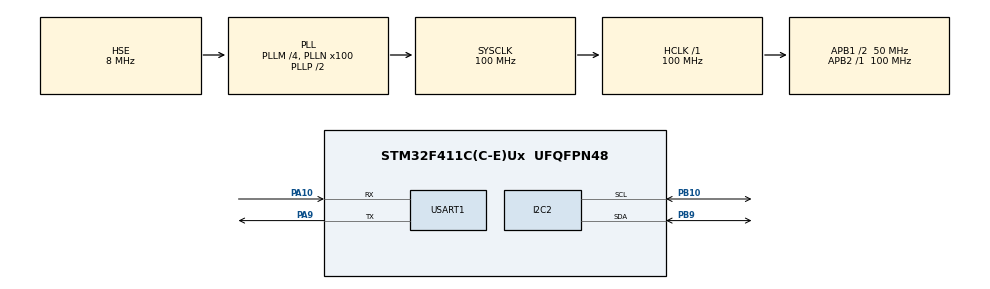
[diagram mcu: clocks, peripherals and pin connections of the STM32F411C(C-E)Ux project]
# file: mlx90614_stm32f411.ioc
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Dma.Request0=USART1_TX
Dma.USART1_TX.0.Direction=DMA_MEMORY_TO_PERIPH
Dma.USART1_TX.0.FIFOMode=DMA_FIFOMODE_DISABLE
Dma.USART1_TX.0.Instance=DMA2_Stream7
Dma.USART1_TX.0.MemDataAlignment=DMA_MDATAALIGN_BYTE
Dma.USART1_TX.0.MemInc=DMA_MINC_ENABLE
Dma.USART1_TX.0.Mode=DMA_NORMAL
Dma.USART1_TX.0.PeriphDataAlignment=DMA_PDATAALIGN_BYTE
Dma.USART1_TX.0.PeriphInc=DMA_PINC_DISABLE
Dma.USART1_TX.0.Priority=DMA_PRIORITY_HIGH
Mcu.Family=STM32F4
Mcu.Name=STM32F411C(C-E)Ux
Mcu.Package=UFQFPN48
NVIC.DMA2_Stream7_IRQn=true\:0\:0\:false\:false\:true\:false\:true\:true
NVIC.PriorityGroup=NVIC_PRIORITYGROUP_4
NVIC.USART1_IRQn=true\:0\:0\:false\:false\:true\:true\:true\:true
PA10.Mode=Asynchronous
PA10.Signal=USART1_RX
PA13.Mode=Serial_Wire
PA13.Signal=SYS_JTMS-SWDIO
PA14.Mode=Serial_Wire
PA14.Signal=SYS_JTCK-SWCLK
PA9.Mode=Asynchronous
PA9.Signal=USART1_TX
PB10.Mode=I2C
PB10.Signal=I2C2_SCL
PB9.Mode=I2C
PB9.Signal=I2C2_SDA
PH0\ -\ OSC_IN.Mode=HSE-External-Oscillator
PH0\ -\ OSC_IN.Signal=RCC_OSC_IN
PH1\ -\ OSC_OUT.Mode=HSE-External-Oscillator
PH1\ -\ OSC_OUT.Signal=RCC_OSC_OUT
ProjectManager.HeapSize=0x200
ProjectManager.StackSize=0x400
ProjectManager.TargetToolchain=STM32CubeIDE
RCC.48MHZClocksFreq_Value=50000000
RCC.AHBFreq_Value=100000000
RCC.APB1CLKDivider=RCC_HCLK_DIV2
RCC.APB1Freq_Value=50000000
RCC.APB1TimFreq_Value=100000000
RCC.APB2Freq_Value=100000000
RCC.APB2TimFreq_Value=100000000
RCC.CortexFreq_Value=100000000
RCC.HCLKFreq_Value=100000000
RCC.HSE_VALUE=8000000
RCC.HSI_VALUE=16000000
RCC.LSE_VALUE=32768
RCC.PLLM=4
RCC.PLLN=100
RCC.PLLSourceVirtual=RCC_PLLSOURCE_HSE
RCC.SYSCLKFreq_VALUE=100000000
RCC.SYSCLKSource=RCC_SYSCLKSOURCE_PLLCLK
RCC.VCOOutputFreq_Value=200000000
TIM10.Prescaler=9999
USART1.VirtualMode=VM_ASYNC
VP_TIM10_VS_ClockSourceINT.Mode=Enable_Timer
board=custom

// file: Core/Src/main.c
/* USER CODE BEGIN Header */
/**
  ******************************************************************************
  * @file           : main.c
  * @brief          : Main program body
  ******************************************************************************
  * @attention
  *
  * Copyright (c) 2024 STMicroelectronics.
  * All rights reserved.
  *
  * This software is licensed under terms that can be found in the LICENSE file
  * in the root directory of this software component.
  * If no LICENSE file comes with this software, it is provided AS-IS.
  *
  ******************************************************************************
  */
/* USER CODE END Header */
#include "main.h"
#include "dma.h"
#include "i2c.h"
#include "tim.h"
#include "usart.h"
#include "gpio.h"

/* USER CODE BEGIN Includes */
#include "stdbool.h"
#include "stdio.h"
#include "MLX90614.h"
#include "V8.h"
#include "math.h"
/* USER CODE END Includes */

/* USER CODE BEGIN PV */
uint8_t Receive_Flag = 0;	// 接收信息判断
volatile bool Flag = false;    //启动标记
float Tr = 0;
float x =0;
/* USER CODE END PV */

void SystemClock_Config(void);

/* USER CODE BEGIN 0 */
/**
****************************************************************************************
* @Funticon name: 秒级记时器
* @param {uint16_t} 记时数
* @return {*}
****************************************************************************************
*/
static void delay_s(uint16_t ns)
{
		__HAL_TIM_SetCounter(&htim10, 0);//htim10

		__HAL_TIM_ENABLE(&htim10);

		while(__HAL_TIM_GetCounter(&htim10) < (10000 * ns));//计数频率10KHz，10 000次即为1s
		/* Disable the Peripheral */
		__HAL_TIM_DISABLE(&htim10);
}
/* USER CODE END 0 */

int main(void)
{

  /* MCU Configuration--------------------------------------------------------*/

  /* Reset of all peripherals, Initializes the Flash interface and the Systick. */
  HAL_Init();

  /* Configure the system clock */
  SystemClock_Config();

  /* Initialize all configured peripherals */
  MX_GPIO_Init();
  MX_DMA_Init();
  MX_USART1_UART_Init();
  MX_I2C2_Init();
  MX_TIM10_Init();
  /* USER CODE BEGIN 2 */
	HAL_Delay(1000);	// 系统空转 2 秒，等待外围电路上电完成
	HAL_Delay(1000);

	printf("start init\r\n");

	HAL_UART_Receive_IT(&huart1, &Receive_Flag, 1);	// 启动接收中断
	MLX90614_Init(&hi2c2);

	printf("Initialization complete \r\n");

  /* USER CODE END 2 */

  /* Infinite loop */
  while (1)
  {

    /* USER CODE BEGIN 3 */
	if (true == Flag){
		Tr = 0.01*Mlx90614_measure_temperature(); // Tr皮肤绝对辐射温度
//		Tr = round(Tr * 100) * 0.01; // 四舍五入保留两位小数
//		x = 0.01*Tr;
		Sent_data_v8(Tr);
//		HAL_Delay(10);
	}
	else {
		;
	  }
  }
  /* USER CODE END 3 */
}

void SystemClock_Config(void)
{
  RCC_OscInitTypeDef RCC_OscInitStruct = {0};
  RCC_ClkInitTypeDef RCC_ClkInitStruct = {0};

  /** Configure the main internal regulator output voltage
  */
  __HAL_RCC_PWR_CLK_ENABLE();
  __HAL_PWR_VOLTAGESCALING_CONFIG(PWR_REGULATOR_VOLTAGE_SCALE1);

  /** Initializes the RCC Oscillators according to the specified parameters
  * in the RCC_OscInitTypeDef structure.
  */
  RCC_OscInitStruct.OscillatorType = RCC_OSCILLATORTYPE_HSE;
  RCC_OscInitStruct.HSEState = RCC_HSE_ON;
  RCC_OscInitStruct.PLL.PLLState = RCC_PLL_ON;
  RCC_OscInitStruct.PLL.PLLSource = RCC_PLLSOURCE_HSE;
  RCC_OscInitStruct.PLL.PLLM = 4;
  RCC_OscInitStruct.PLL.PLLN = 100;
  RCC_OscInitStruct.PLL.PLLP = RCC_PLLP_DIV2;
  RCC_OscInitStruct.PLL.PLLQ = 4;
  if (HAL_RCC_OscConfig(&RCC_OscInitStruct) != HAL_OK)
  {
    Error_Handler();
  }

  /** Initializes the CPU, AHB and APB buses clocks
  */
  RCC_ClkInitStruct.ClockType = RCC_CLOCKTYPE_HCLK|RCC_CLOCKTYPE_SYSCLK
                              |RCC_CLOCKTYPE_PCLK1|RCC_CLOCKTYPE_PCLK2;
  RCC_ClkInitStruct.SYSCLKSource = RCC_SYSCLKSOURCE_PLLCLK;
  RCC_ClkInitStruct.AHBCLKDivider = RCC_SYSCLK_DIV1;
  RCC_ClkInitStruct.APB1CLKDivider = RCC_HCLK_DIV2;
  RCC_ClkInitStruct.APB2CLKDivider = RCC_HCLK_DIV1;

  if (HAL_RCC_ClockConfig(&RCC_ClkInitStruct, FLASH_LATENCY_3) != HAL_OK)
  {
    Error_Handler();
  }
}

/* USER CODE BEGIN 4 */
// 串口中断回调函数
void HAL_UART_RxCpltCallback(UART_HandleTypeDef *huart) {
	if (huart->Instance == USART1) {
		if (0xAA == Receive_Flag) {
			Flag = true;
			Receive_Flag = 0;
		}
		else {
			Flag = false;
			Receive_Flag = 0;

		}
		HAL_UART_Receive_IT(huart, &Receive_Flag, 1);
	}
}
/* USER CODE END 4 */

void Error_Handler(void)
{
  __disable_irq();
  while (1)
  {
  }
}
